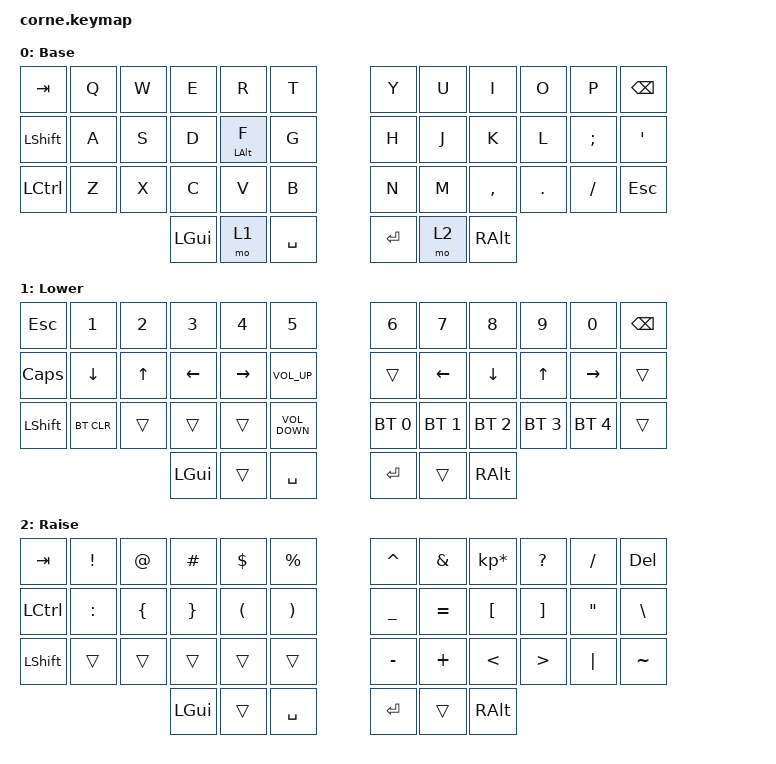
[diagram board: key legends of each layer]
/*
 * Copyright (c) 2020 The ZMK Contributors
 *
 * SPDX-License-Identifier: MIT
 */

#include <behaviors.dtsi>
#include <dt-bindings/zmk/bt.h>
#include <dt-bindings/zmk/keys.h>

&mt { tapping-term-ms = <300>; };

/ {
    keymap {
        compatible = "zmk,keymap";

        default_layer {
            // -----------------------------------------------------------------------------------------
            // |  TAB |  Q  |  W  |  E  |  R  |  T  |   |  Y  |  U   |  I  |  O  |  P  | BKSP |
            // | CTRL |  A  |  S  |  D  |  F  |  G  |   |  H  |  J   |  K  |  L  |  ;  |  '   |
            // | SHFT |  Z  |  X  |  C  |  V  |  B  |   |  N  |  M   |  ,  |  .  |  /  | ESC  |
            //                    | GUI | LWR | SPC |   | ENT | RSE  | ALT |

            display-name = "Base";
            bindings = <
&kp TAB           &kp Q  &kp W  &kp E     &kp R           &kp T        &kp Y    &kp U  &kp I      &kp O    &kp P     &kp BSPC
&kp LSHFT         &kp A  &kp S  &kp D     &mt LEFT_ALT F  &kp G        &kp H    &kp J  &kp K      &kp L    &kp SEMI  &kp SQT
&kp LEFT_CONTROL  &kp Z  &kp X  &kp C     &kp V           &kp B        &kp N    &kp M  &kp COMMA  &kp DOT  &kp FSLH  &kp ESC
                                &kp LGUI  &mo 1           &kp SPACE    &kp RET  &mo 2  &kp RALT
            >;
        };

        lower_layer {
            // -----------------------------------------------------------------------------------------
            // |  TAB |  1  |  2  |  3  |  4  |  5  |   |  6  |  7  |  8  |  9  |  0  | BKSP |
            // | BTCLR| BT1 | BT2 | BT3 | BT4 | BT5 |   | LFT | DWN |  UP | RGT |     |      |
            // | SHFT |     |     |     |     |     |   |     |     |     |     |     |      |
            //                    | GUI |     | SPC |   | ENT |     | ALT |

            display-name = "Lower";
            bindings = <
&kp ESCAPE    &kp N1          &kp N2        &kp N3    &kp N4     &kp N5               &kp N6        &kp N7          &kp N8          &kp N9        &kp N0           &kp BSPC
&kp CAPSLOCK  &kp DOWN_ARROW  &kp UP_ARROW  &kp LEFT  &kp RIGHT  &kp C_VOLUME_UP      &trans        &kp LEFT_ARROW  &kp DOWN_ARROW  &kp UP_ARROW  &kp RIGHT_ARROW  &trans
&kp LSHFT     &bt BT_CLR      &trans        &trans    &trans     &kp C_VOLUME_DOWN    &bt BT_SEL 0  &bt BT_SEL 1    &bt BT_SEL 2    &bt BT_SEL 3  &bt BT_SEL 4     &trans
                                            &kp LGUI  &trans     &kp SPACE            &kp RET       &trans          &kp RALT
            >;
        };

        raise_layer {
            // -----------------------------------------------------------------------------------------
            // |  TAB |  !  |  @  |  #  |  $  |  %  |   |  ^  |  &  |  *  |  (  |  )  | BKSP |
            // | CTRL |     |     |     |     |     |   |  -  |  =  |  [  |  ]  |  \  |  `   |
            // | SHFT |     |     |     |     |     |   |  _  |  +  |  {  |  }  | "|" |  ~   |
            //                    | GUI |     | SPC |   | ENT |     | ALT |

            display-name = "Raise";
            bindings = <
&kp TAB    &kp EXCL   &kp AT          &kp HASH         &kp DLLR  &kp PRCNT    &kp CARET       &kp AMPS   &kp KP_MULTIPLY  &kp QUESTION      &kp SLASH          &kp DELETE
&kp LCTRL  &kp COLON  &kp LEFT_BRACE  &kp RIGHT_BRACE  &kp LPAR  &kp RPAR     &kp UNDERSCORE  &kp EQUAL  &kp LBKT         &kp RBKT          &kp DOUBLE_QUOTES  &kp BACKSLASH
&kp LSHFT  &trans     &trans          &trans           &trans    &trans       &kp MINUS       &kp PLUS   &kp LESS_THAN    &kp GREATER_THAN  &kp PIPE           &kp TILDE
                                      &kp LGUI         &trans    &kp SPACE    &kp RET         &trans     &kp RALT
            >;
        };

        extra_1 { status = "reserved"; };

        extra_2 { status = "reserved"; };

        extra_3 { status = "reserved"; };
    };
};
